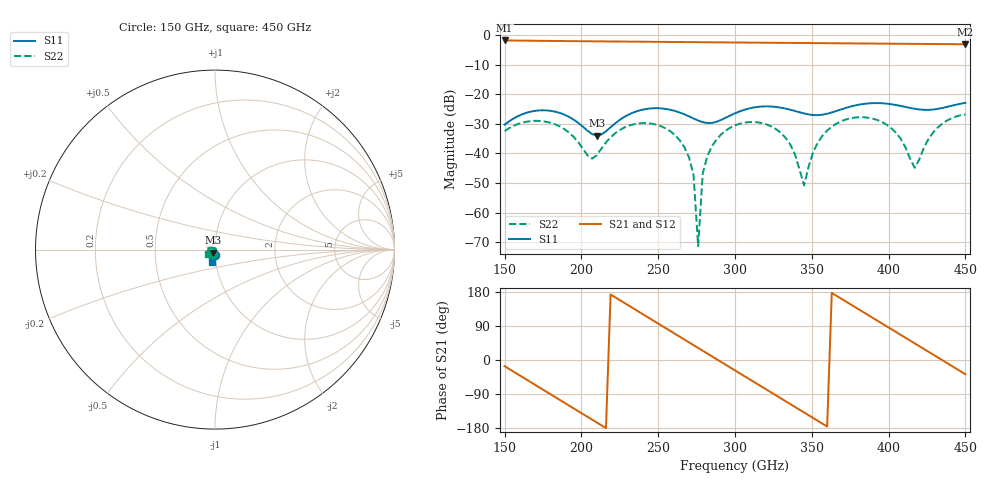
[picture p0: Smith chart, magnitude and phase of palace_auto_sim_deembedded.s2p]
! Created with skrf 1.11.0 (http://scikit-rf.org).
# GHz S DB R 50.0
!freq dBS11 angS11 dBS21 angS21 dBS12 angS12 dBS22 angS22
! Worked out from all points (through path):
!   101 points, 150 GHz to 450 GHz, reference 50 ohm
!   highest |S21| = -1.79 dB at 150 GHz (marker M1); lowest = -3.1 dB at 450 GHz (marker M2)
!   group delay of S21, straight-line fit = 6.86 ps
!   lowest |S11| = -34.0 dB at 210 GHz (marker M3), VSWR 1.04, Z = 49.1 - j1.75 ohm
!   |S11| at or under -10 dB: start of sweep to end of sweep
!   |S22| runs from -71.4 to -26.8 dB; largest |S21 - S12| = 1.3e-13
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150  -30.28 -90.0  -1.79 -16.3  -1.79 -16.3  -32.42 -112.6
177  -25.43 -121.3  -1.94 -83.2  -1.94 -83.2  -29.28 -162.9
201  -30.97 -142.9  -2.05 -142.6  -2.05 -142.6  -38.42 169.0
210  -34.00 -116.9  -2.09 -164.9  -2.09 -164.9  -40.59 -137.0
228  -27.64 -87.6  -2.17 150.6  -2.17 150.6  -31.23 -137.8
252  -24.77 -115.9  -2.28 91.2  -2.28 91.2  -30.84 168.4
270  -27.46 -129.0  -2.35 46.7  -2.35 46.7  -41.27 125.2
273  -28.18 -127.7  -2.37 39.2  -2.37 39.2  -47.32 119.3
276  -28.88 -124.9  -2.38 31.8  -2.38 31.8  -71.37 -130.9
279  -29.43 -120.2  -2.39 24.4  -2.39 24.4  -46.75 -81.8
282  -29.73 -114.3  -2.40 17.0  -2.40 17.0  -40.93 -87.9
300  -26.43 -93.4  -2.48 -27.5  -2.48 -27.5  -30.52 -132.8
315  -24.25 -103.8  -2.55 -64.5  -2.55 -64.5  -29.50 -172.0
330  -24.54 -116.7  -2.60 -101.5  -2.60 -101.5  -33.12 146.2
339  -25.64 -119.6  -2.64 -123.7  -2.64 -123.7  -40.26 113.0
345  -26.48 -117.4  -2.66 -138.5  -2.66 -138.5  -50.79 16.5
351  -27.02 -111.5  -2.68 -153.4  -2.68 -153.4  -39.40 -65.7
372  -24.64 -96.6  -2.77 154.8  -2.77 154.8  -28.56 -132.1
402  -23.38 -115.2  -2.89 80.9  -2.89 80.9  -31.56 142.5
417  -24.90 -115.3  -2.95 43.9  -2.95 43.9  -44.86 27.6
432  -24.93 -103.5  -3.01 6.9  -3.01 6.9  -31.23 -91.7
450  -22.91 -102.6  -3.08 -37.5  -3.08 -37.5  -26.78 -143.8
